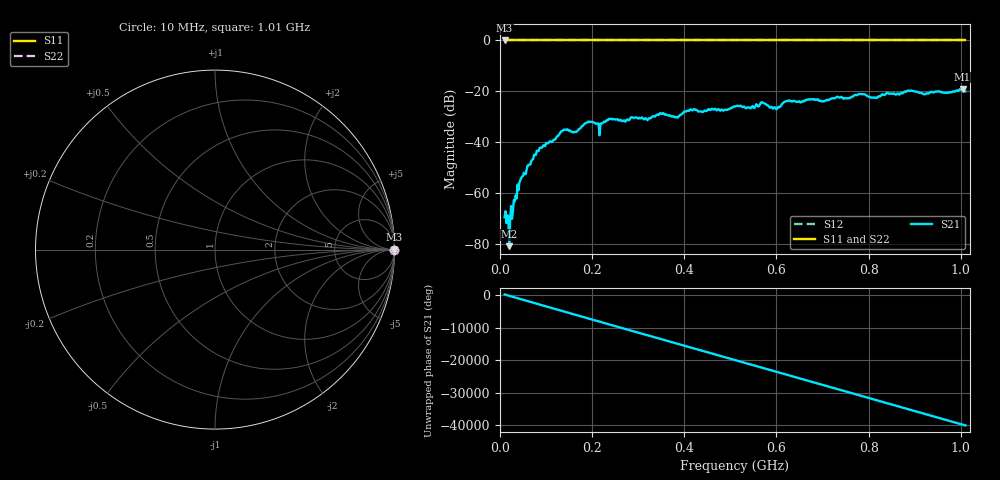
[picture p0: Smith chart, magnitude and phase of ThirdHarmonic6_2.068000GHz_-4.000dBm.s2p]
! 8/17/2025 12:46:18 AM
! C:\ANRITSUVNA\TEMP\TEMP.S2P
! CHANNEL.1
! TR.MEASUREMENT
! RAW.DATA
! RF.CORRECTION.OFF
! AVERAGING.OFF
! IF.BANDWIDTH: 5KHZ
! SWEEPTYPE:  FREQ.SWEEP(Linear)
! Reference Plane Port Info
! PORT:  PORT1  PORT2
! DISTANCE:  0  m  0  m
! TIME:  0  s  0  s
! PHASE.OFFSET:  0  deg.  0  deg.
! LOSS:  0  dB  0  dB
! REF.LOSS:  0  dB  0  dB
! REF.FREQ:  0  Hz  0  Hz
! Power Info
! POWER:  -20  dBm  -20  dBm
! EFF.POWER:  -20  dBm  -20  dBm
! SOURCE.ATTEN:  0  dB  0  dB
! TEST.ATTEN:  0  dB  0  dB
# GHZ S RI R 50.0
! FREQ.GHZ  S11RE  S11IM  S21RE  S21IM  S12RE  S12IM  S22RE  S22IM
!; PortSelection: Port_12
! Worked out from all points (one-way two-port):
!   501 points, 10 MHz to 1.01 GHz, reference 50 ohm
!   highest |S21| = -19.13 dB at 1.004 GHz (marker M1); lowest = -81.0 dB at 20 MHz (marker M2)
!   lowest |S11| = 0.0 dB at 10 MHz (marker M3)
!   |S11| at or under -10 dB: nowhere
!   |S22| runs from 0.0 to 0.0 dB; largest |S21 - S12| = 1.1
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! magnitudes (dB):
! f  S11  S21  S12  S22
! 10 MHz  0.0  -69.5  0.0  0.0
! 18 MHz  0.0  -69.2  0.0  0.0
! 20 MHz  0.0  -81.0  0.0  0.0
! 24 MHz  0.0  -65.2  0.0  0.0
! 26 MHz  0.0  -70.2  0.0  0.0
! 34 MHz  0.0  -61.0  0.0  0.0
! 46 MHz  0.0  -54.2  0.0  0.0
! 84 MHz  0.0  -43.5  0.0  0.0
! 136 MHz  0.0  -35.6  0.0  0.0
! 162 MHz  0.0  -36.0  0.0  0.0
! 178 MHz  0.0  -33.7  0.0  0.0
! 344 MHz  0.0  -29.3  0.0  0.0
! 384 MHz  0.0  -30.3  0.0  0.0
! 418 MHz  0.0  -27.5  0.0  0.0
! 510 MHz  0.0  -26.0  0.0  0.0
! 570 MHz  0.0  -24.4  0.0  0.0
! 596 MHz  0.0  -26.3  0.0  0.0
! 624 MHz  0.0  -23.9  0.0  0.0
! 678 MHz  0.0  -23.1  0.0  0.0
! 844 MHz  0.0  -21.0  0.0  0.0
! 1.004 GHz  0.0  -19.1  0.0  0.0
! 1.01 GHz  0.0  -20.0  0.0  0.0
